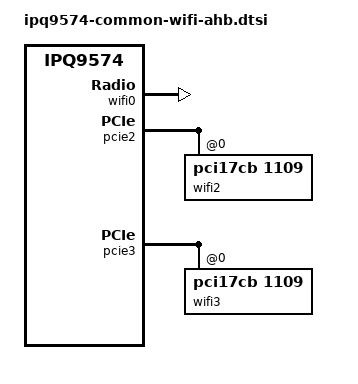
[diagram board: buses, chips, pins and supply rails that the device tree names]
// SPDX-License-Identifier: (GPL-2.0+ OR BSD-3-Clause)

/* IPQ9574 AHB radio resources for boards with additional PCIe radios. */

/* The IPQ9574 AHB firmware requires its M3 dump at this fixed address. */
/ {
	reserved-memory {
		m3_dump: m3-dump@4db00000 {
			reg = <0x0 0x4db00000 0x0 0x00100000>;
			no-map;
		};
	};
};

&q6v5_wcss {
	firmware-name = "ath11k/IPQ9574/hw1.0/q6_fw.mdt",
			"ath11k/IPQ9574/hw1.0/m3_fw.mdt";
};

&wifi0 {
	status = "okay";

	clocks = <&xo_board_clk>;
	clock-names = "xo";
	memory-region = <&q6_region>, <&q6_region>, <&m3_dump>;
	memory-region-names = "host-ddr-mem", "bdf", "m3-dump";
	qcom,ath11k-fw-memory-mode = <1>;
	qcom,bdf-offset = <0x00c00000>;
};

/* Boards using a different PCIe radio override these defaults. */
&pcie2 {
	pinctrl-0 = <&pcie2_default>;
	pinctrl-names = "default";

	pcie@0,0 {
		device_type = "pci";
		reg = <0x0 0x0 0x0 0x0 0x0>;
		#address-cells = <3>;
		#size-cells = <2>;
		ranges;

		wifi2: wifi@0 {
			compatible = "pci17cb,1109";
			reg = <0x0 0x0 0x0 0x0 0x0>;
			qcom,num-radios = <1>;
			qcom,ath12k-fw-memory-mode = <1>;
		};
	};
};

&pcie3 {
	pinctrl-0 = <&pcie3_default>;
	pinctrl-names = "default";

	pcie@0,0 {
		device_type = "pci";
		reg = <0x0 0x0 0x0 0x0 0x0>;
		#address-cells = <3>;
		#size-cells = <2>;
		ranges;

		wifi3: wifi@0 {
			compatible = "pci17cb,1109";
			reg = <0x0 0x0 0x0 0x0 0x0>;
			qcom,num-radios = <1>;
			qcom,ath12k-fw-memory-mode = <1>;
		};
	};
};
